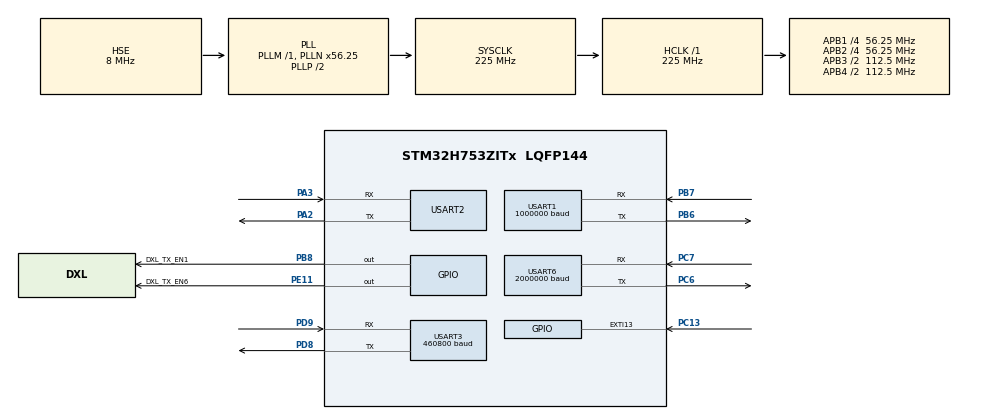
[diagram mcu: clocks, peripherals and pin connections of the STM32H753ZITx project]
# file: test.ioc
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CORTEX_M7.MPU_Control=__NULL
CORTEX_M7.default_mode_Activation=1
Dma.Request0=USART2_RX
Dma.Request1=USART6_RX
Dma.Request2=USART3_TX
Dma.USART2_RX.0.Direction=DMA_PERIPH_TO_MEMORY
Dma.USART2_RX.0.EventEnable=DISABLE
Dma.USART2_RX.0.FIFOMode=DMA_FIFOMODE_DISABLE
Dma.USART2_RX.0.Instance=DMA1_Stream0
Dma.USART2_RX.0.MemDataAlignment=DMA_MDATAALIGN_BYTE
Dma.USART2_RX.0.MemInc=DMA_MINC_ENABLE
Dma.USART2_RX.0.Mode=DMA_NORMAL
Dma.USART2_RX.0.PeriphDataAlignment=DMA_PDATAALIGN_BYTE
Dma.USART2_RX.0.PeriphInc=DMA_PINC_DISABLE
Dma.USART2_RX.0.Polarity=HAL_DMAMUX_REQ_GEN_RISING
Dma.USART2_RX.0.Priority=DMA_PRIORITY_LOW
Dma.USART2_RX.0.RequestNumber=1
Dma.USART2_RX.0.SignalID=NONE
Dma.USART2_RX.0.SyncEnable=DISABLE
Dma.USART2_RX.0.SyncPolarity=HAL_DMAMUX_SYNC_NO_EVENT
Dma.USART2_RX.0.SyncRequestNumber=1
Dma.USART2_RX.0.SyncSignalID=NONE
Dma.USART3_TX.2.Direction=DMA_MEMORY_TO_PERIPH
Dma.USART3_TX.2.EventEnable=DISABLE
Dma.USART3_TX.2.FIFOMode=DMA_FIFOMODE_DISABLE
Dma.USART3_TX.2.Instance=DMA1_Stream2
Dma.USART3_TX.2.MemDataAlignment=DMA_MDATAALIGN_BYTE
Dma.USART3_TX.2.MemInc=DMA_MINC_ENABLE
Dma.USART3_TX.2.Mode=DMA_NORMAL
Dma.USART3_TX.2.PeriphDataAlignment=DMA_PDATAALIGN_BYTE
Dma.USART3_TX.2.PeriphInc=DMA_PINC_DISABLE
Dma.USART3_TX.2.Polarity=HAL_DMAMUX_REQ_GEN_RISING
Dma.USART3_TX.2.Priority=DMA_PRIORITY_MEDIUM
Dma.USART3_TX.2.RequestNumber=1
Dma.USART3_TX.2.SignalID=NONE
Dma.USART3_TX.2.SyncEnable=DISABLE
Dma.USART3_TX.2.SyncPolarity=HAL_DMAMUX_SYNC_NO_EVENT
Dma.USART3_TX.2.SyncRequestNumber=1
Dma.USART3_TX.2.SyncSignalID=NONE
Dma.USART6_RX.1.Direction=DMA_PERIPH_TO_MEMORY
Dma.USART6_RX.1.EventEnable=DISABLE
Dma.USART6_RX.1.FIFOMode=DMA_FIFOMODE_DISABLE
Dma.USART6_RX.1.Instance=DMA1_Stream1
Dma.USART6_RX.1.MemDataAlignment=DMA_MDATAALIGN_BYTE
Dma.USART6_RX.1.MemInc=DMA_MINC_ENABLE
Dma.USART6_RX.1.Mode=DMA_NORMAL
Dma.USART6_RX.1.PeriphDataAlignment=DMA_PDATAALIGN_BYTE
Dma.USART6_RX.1.PeriphInc=DMA_PINC_DISABLE
Dma.USART6_RX.1.Polarity=HAL_DMAMUX_REQ_GEN_RISING
Dma.USART6_RX.1.Priority=DMA_PRIORITY_HIGH
Dma.USART6_RX.1.RequestNumber=1
Dma.USART6_RX.1.SignalID=NONE
Dma.USART6_RX.1.SyncEnable=DISABLE
Dma.USART6_RX.1.SyncPolarity=HAL_DMAMUX_SYNC_NO_EVENT
Dma.USART6_RX.1.SyncRequestNumber=1
Dma.USART6_RX.1.SyncSignalID=NONE
Mcu.Family=STM32H7
Mcu.Name=STM32H753ZITx
Mcu.Package=LQFP144
NVIC.DMA1_Stream0_IRQn=true\:0\:0\:false\:false\:true\:false\:true\:true
NVIC.DMA1_Stream1_IRQn=true\:0\:0\:false\:false\:true\:false\:true\:true
NVIC.DMA1_Stream2_IRQn=true\:0\:0\:false\:false\:true\:false\:true\:true
NVIC.EXTI15_10_IRQn=true\:0\:0\:false\:false\:true\:true\:true\:true
NVIC.PriorityGroup=NVIC_PRIORITYGROUP_4
NVIC.USART1_IRQn=true\:0\:0\:false\:false\:true\:true\:true\:true
NVIC.USART2_IRQn=true\:0\:0\:false\:false\:true\:true\:true\:true
NVIC.USART3_IRQn=true\:0\:0\:false\:false\:true\:true\:true\:true
NVIC.USART6_IRQn=true\:0\:0\:false\:false\:true\:true\:true\:true
PA2.Mode=Asynchronous
PA2.Signal=USART2_TX
PA3.Mode=Asynchronous
PA3.Signal=USART2_RX
PB6.GPIO_Speed=GPIO_SPEED_FREQ_HIGH
PB6.Mode=Asynchronous
PB6.Signal=USART1_TX
PB7.GPIO_Speed=GPIO_SPEED_FREQ_HIGH
PB7.Mode=Asynchronous
PB7.Signal=USART1_RX
PB8.GPIO_Label=DXL_TX_EN1
PB8.Signal=GPIO_Output
PC13.Signal=GPXTI13
PC6.GPIO_Speed=GPIO_SPEED_FREQ_VERY_HIGH
PC6.Mode=Asynchronous
PC6.Signal=USART6_TX
PC7.GPIO_PuPd=GPIO_PULLUP
PC7.GPIO_Speed=GPIO_SPEED_FREQ_VERY_HIGH
PC7.Mode=Asynchronous
PC7.Signal=USART6_RX
PD8.Mode=Asynchronous
PD8.Signal=USART3_TX
PD9.Mode=Asynchronous
PD9.Signal=USART3_RX
PE11.GPIO_Label=DXL_TX_EN6
PE11.GPIO_ModeDefaultOutputPP=GPIO_MODE_OUTPUT_OD
PE11.GPIO_PuPd=GPIO_NOPULL
PE11.GPIO_Speed=GPIO_SPEED_FREQ_VERY_HIGH
PE11.Signal=GPIO_Output
PH0-OSC_IN\ (PH0).Mode=HSE-External-Clock-Source
PH0-OSC_IN\ (PH0).Signal=RCC_OSC_IN
ProjectManager.HeapSize=0x200
ProjectManager.StackSize=0x400
ProjectManager.TargetToolchain=STM32CubeIDE
RCC.ADCFreq_Value=16125000
RCC.APB1Freq_Value=56250000
RCC.APB2Freq_Value=56250000
RCC.APB3Freq_Value=112500000
RCC.APB4Freq_Value=112500000
RCC.CortexFreq_Value=225000000
RCC.D1PPRE=RCC_APB3_DIV2
RCC.D2PPRE1=RCC_APB1_DIV4
RCC.D2PPRE2=RCC_APB2_DIV4
RCC.D3PPRE=RCC_APB4_DIV2
RCC.DIVM1=1
RCC.DIVN1=56
RCC.HCLKFreq_Value=225000000
RCC.HSE_VALUE=8000000
RCC.PLLFRACN=2048
RCC.PLLSourceVirtual=RCC_PLLSOURCE_HSE
RCC.PWR_Regulator_Voltage_Scale=PWR_REGULATOR_VOLTAGE_SCALE1
RCC.SYSCLKFreq_VALUE=225000000
RCC.SYSCLKSource=RCC_SYSCLKSOURCE_PLLCLK
RCC.USBFreq_Value=225000000
USART1.BaudRate=1000000
USART1.VirtualMode-Asynchronous=VM_ASYNC
USART2.VirtualMode-Asynchronous=VM_ASYNC
USART3.BaudRate=460800
USART3.VirtualMode-Asynchronous=VM_ASYNC
USART6.BaudRate=2000000
USART6.VirtualMode-Asynchronous=VM_ASYNC
VP_MEMORYMAP_VS_MEMORYMAP.Mode=CurAppReg
board=custom

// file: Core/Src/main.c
/* USER CODE BEGIN Header */
/**
 ******************************************************************************
 * @file           : main.c
 * @brief          : Main program body
 ******************************************************************************
 * @attention
 *
 * Copyright (c) 2026 STMicroelectronics.
 * All rights reserved.
 *
 * This software is licensed under terms that can be found in the LICENSE file
 * in the root directory of this software component.
 * If no LICENSE file comes with this software, it is provided AS-IS.
 *
 ******************************************************************************
 */
/* USER CODE END Header */
#include "main.h"
#include "dma.h"
#include "usart.h"
#include "gpio.h"

/* USER CODE BEGIN Includes */
#include "dxl_2_0.h"    // 다이나믹셀 모터 통합 제어 드라이버
#include "imu_driver.h"
#include "robot_motion.h"
#include "jetson_comm.h"
#include "woki_power_guard.h"
/* USER CODE END Includes */

/* USER CODE BEGIN PV */
IMU_Data_t g_imu_data;               // 최신 IMU 데이터
volatile uint8_t user_stop_flag = 0;   // USER 버튼 눌림 여부 (1이면 모터 정지)
volatile uint8_t mode_button_request = 0;
/* USER CODE END PV */

void SystemClock_Config(void);
/* USER CODE BEGIN PFP */
void IMU_Task(void);
/* USER CODE END PFP */

int main(void)
{

  /* MCU Configuration--------------------------------------------------------*/

  /* Reset of all peripherals, Initializes the Flash interface and the Systick. */
  HAL_Init();

  /* Configure the system clock */
  SystemClock_Config();

  /* Initialize all configured peripherals */
  MX_GPIO_Init();
  MX_DMA_Init();
  MX_USART3_UART_Init();
  MX_USART6_UART_Init();
  MX_USART1_UART_Init();
  MX_USART2_UART_Init();
  /* USER CODE BEGIN 2 */
	IMU_Init(&huart2);      // IMU UART 핸들 등록
	if (IMU_Start_DMA() != HAL_OK) { // DMA 수신 시작
		Error_Handler();
	}

	Robot_Motion_Init(); // 로봇 동작 상태 초기화
	Jetson_Comm_Init(&huart3); // Jetson VCP 통신 초기화
	// 바퀴 정지 후 시작 기준 검사, 통과했을 때만 초기 Wheel 자세로 이동
	Robot_Wheel_Stop();
	// 전원 ON 전 Knee 네 개의 실제 누적 위치를 0~4095 구간으로 맞춘 상태에서 시작
	// 검사 통과 후 현재 위치에서 저속으로 Wheel에 직접 이동, 실제 도착 후 모드 전환
	if (RobotPower_CheckBootStart()) Robot_Set_Wheel_Mode();
	Jetson_Comm_DiscardPendingCommands(); // 초기 이동 중 대기한 동작 명령은 재사용하지 않음
	mode_button_request = 0U; // 초기 Wheel 이동 중 입력은 다음 전환으로 넘기지 않음
  /* USER CODE END 2 */

  /* Infinite loop */
  /* USER CODE BEGIN WHILE */
	while (1) {
		IMU_Task();
		RobotPower_Task(); // 기준 잠금·종료 준비 확인, ISR에서는 모터 통신 없음
		Jetson_Comm_Task();
		Robot_Ramp_Control_Task();
		Robot_Walk_Demo_Task();
		Robot_Wheel_Drive_Task();

		if (mode_button_request) {
			mode_button_request = 0;
			Jetson_Comm_DiscardPendingCommands(); // 버튼 동작 전 대기 중인 명령 폐기
			if (!RobotPower_MotionAllowed()) {
				// 잠금 원인은 보존, 주차 중에만 중단 요청으로 처리
				if (RobotPower_IsParking()) RobotPower_Cancel();
				continue;
			}

			if (Robot_Get_Mode() == MODE_WHEEL) {
				// 첫 번째 입력: Wheel → Leg
				Robot_Set_Leg_Mode();
			} else if (Robot_Get_Mode() == MODE_LEG) {
				// 두 번째 입력: Leg → Wheel, 이후 같은 순서로 반복
				Robot_Set_Wheel_Mode();
			} else if (Robot_Get_Mode() == MODE_WALK_DEMO) {
				// 보행 중 입력: 현재 자세 유지
				Robot_Stop_Walk_Demo();
			}

			// 동작 중 발생한 추가 버튼 입력 제거
			mode_button_request = 0;
		}
	}
    /* USER CODE END WHILE */

}

void SystemClock_Config(void)
{
  RCC_OscInitTypeDef RCC_OscInitStruct = {0};
  RCC_ClkInitTypeDef RCC_ClkInitStruct = {0};

  /** Supply configuration update enable
  */
  HAL_PWREx_ConfigSupply(PWR_LDO_SUPPLY);

  /** Configure the main internal regulator output voltage
  */
  __HAL_PWR_VOLTAGESCALING_CONFIG(PWR_REGULATOR_VOLTAGE_SCALE1);

  while(!__HAL_PWR_GET_FLAG(PWR_FLAG_VOSRDY)) {}

  /** Initializes the RCC Oscillators according to the specified parameters
  * in the RCC_OscInitTypeDef structure.
  */
  RCC_OscInitStruct.OscillatorType = RCC_OSCILLATORTYPE_HSE;
  RCC_OscInitStruct.HSEState = RCC_HSE_BYPASS;
  RCC_OscInitStruct.PLL.PLLState = RCC_PLL_ON;
  RCC_OscInitStruct.PLL.PLLSource = RCC_PLLSOURCE_HSE;
  RCC_OscInitStruct.PLL.PLLM = 1;
  RCC_OscInitStruct.PLL.PLLN = 56;
  RCC_OscInitStruct.PLL.PLLP = 2;
  RCC_OscInitStruct.PLL.PLLQ = 2;
  RCC_OscInitStruct.PLL.PLLR = 2;
  RCC_OscInitStruct.PLL.PLLRGE = RCC_PLL1VCIRANGE_3;
  RCC_OscInitStruct.PLL.PLLVCOSEL = RCC_PLL1VCOWIDE;
  RCC_OscInitStruct.PLL.PLLFRACN = 2048;
  if (HAL_RCC_OscConfig(&RCC_OscInitStruct) != HAL_OK)
  {
    Error_Handler();
  }

  /** Initializes the CPU, AHB and APB buses clocks
  */
  RCC_ClkInitStruct.ClockType = RCC_CLOCKTYPE_HCLK|RCC_CLOCKTYPE_SYSCLK
                              |RCC_CLOCKTYPE_PCLK1|RCC_CLOCKTYPE_PCLK2
                              |RCC_CLOCKTYPE_D3PCLK1|RCC_CLOCKTYPE_D1PCLK1;
  RCC_ClkInitStruct.SYSCLKSource = RCC_SYSCLKSOURCE_PLLCLK;
  RCC_ClkInitStruct.SYSCLKDivider = RCC_SYSCLK_DIV1;
  RCC_ClkInitStruct.AHBCLKDivider = RCC_HCLK_DIV1;
  RCC_ClkInitStruct.APB3CLKDivider = RCC_APB3_DIV2;
  RCC_ClkInitStruct.APB1CLKDivider = RCC_APB1_DIV4;
  RCC_ClkInitStruct.APB2CLKDivider = RCC_APB2_DIV4;
  RCC_ClkInitStruct.APB4CLKDivider = RCC_APB4_DIV2;

  if (HAL_RCC_ClockConfig(&RCC_ClkInitStruct, FLASH_LATENCY_3) != HAL_OK)
  {
    Error_Handler();
  }
}

/* USER CODE BEGIN 4 */
void IMU_Task(void) {
	IMU_Process_Data();

	IMU_Data_t data = IMU_Get_Data();
	if (data.updated) {
		g_imu_data = data;
	} else {
		g_imu_data.updated = 0;
	}

	// IMU 데이터 수신 중단 시 유효 상태 해제
	if (!data.valid) {
		g_imu_data.valid = 0;
	}
}

// USER 버튼 인터럽트 콜백
void HAL_GPIO_EXTI_Callback(uint16_t GPIO_Pin) {
	static uint32_t last_button_tick = 0;

	if (GPIO_Pin == GPIO_PIN_13) {
		uint32_t current_tick = HAL_GetTick();

		// 주차 중 버튼 입력은 정지 요청만 저장, 위치 유지 시도는 메인에서 수행
		if (RobotPower_IsParking()) {
			if ((current_tick - last_button_tick) >= 50U) {
				user_stop_flag = 1U;
				last_button_tick = current_tick;
			}
			return;
		}

		// 버튼 채터링 방지
		if ((current_tick - last_button_tick) >= 300U) {
			mode_button_request = 1;
			last_button_tick = current_tick;
		}
	}
}

/* USER CODE END 4 */

void Error_Handler(void)
{
	__disable_irq();
	while (1) {
	}
}
